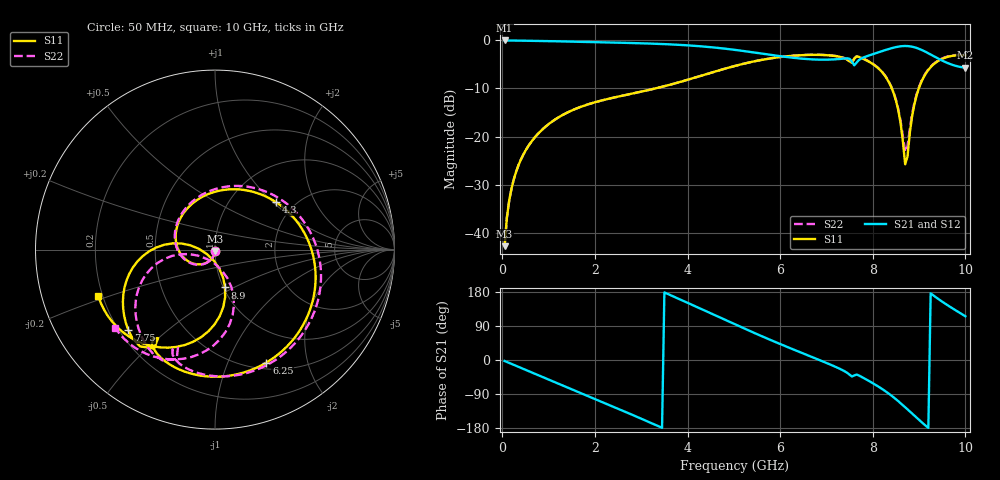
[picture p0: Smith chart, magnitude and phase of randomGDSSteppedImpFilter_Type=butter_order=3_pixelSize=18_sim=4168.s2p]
! freq	dB(S11)	phase(S11)	dB(S12)	phase(S12)
!  dB(S21)	phase(S21)	dB(S22)	phase(S22)
!S-par simulation data
#  GHz  S  DB  R 50
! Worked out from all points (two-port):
!   200 points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, 50 MHz to 10 GHz, reference 50 ohm
!   highest |S21| = 0.00 dB at 50 MHz (marker M1); lowest = -5.6 dB at 10 GHz (marker M2)
!   |S21| within 3 dB of the highest: start of sweep to 5.794 GHz; 7.956 GHz to 9.265 GHz (1.309 GHz wide, 15.2 % of centre)
!   lowest |S11| = -42.8 dB at 50 MHz (marker M3), VSWR 1.01, Z = 50 - j0.722 ohm
!   |S11| at or under -10 dB: start of sweep to 3.3 GHz; 8.412 GHz to 8.994 GHz (582.1 MHz wide, 6.69 % of centre)
!   |S22| runs from -42.8 to -3.0 dB; largest |S21 - S12| = 0
!   S11 on the Smith chart (normalised r, x): 50 MHz: 1.00, -0.01; 4.3 GHz: 1.60, +1.04; 6.25 GHz: 0.58, -1.39; 7.75 GHz: 0.24, -0.37; 8.9 GHz: 1.02, -0.45; 10 GHz: 0.18, -0.19
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0.05  -42.81 -92.1  -0.00 -2.6  -0.00 -2.6  -42.82 -92.0
0.1  -36.79 -95.0  -0.01 -5.2  -0.01 -5.2  -36.80 -94.8
0.2  -30.78 -100.5  -0.02 -10.4  -0.02 -10.4  -30.78 -100.1
0.5  -22.96 -116.7  -0.06 -25.8  -0.06 -25.8  -22.96 -115.9
1.15  -16.39 -150.9  -0.17 -59.2  -0.17 -59.2  -16.39 -149.1
1.75  -13.63 177.5  -0.30 -89.9  -0.30 -89.9  -13.63 -179.3
2.5  -11.69 137.7  -0.46 -128.6  -0.46 -128.6  -11.70 143.1
3.4  -9.77 88.4  -0.72 -176.3  -0.72 -176.3  -9.77 96.9
4.3  -7.33 38.1  -1.23 134.3  -1.23 134.3  -7.33 48.7
5.05  -5.24 -3.4  -1.99 92.7  -1.99 92.7  -5.23 7.8
5.65  -3.96 -35.3  -2.80 60.3  -2.80 60.3  -3.95 -24.1
6.25  -3.20 -65.5  -3.58 29.5  -3.58 29.5  -3.19 -54.3
6.7  -3.00 -87.3  -3.95 7.2  -3.95 7.2  -2.97 -75.9
7.6  -3.78 -121.6  -5.18 -40.8  -5.18 -40.8  -3.79 -109.3
7.75  -3.61 -137.0  -3.77 -44.0  -3.77 -44.0  -3.59 -124.4
8.35  -8.71 -178.5  -1.76 -89.1  -1.76 -89.1  -8.64 -163.7
8.55  -14.47 169.7  -1.29 -108.6  -1.29 -108.6  -14.25 -172.4
8.7  -25.77 -150.8  -1.16 -124.7  -1.16 -124.7  -23.21 -131.4
8.9  -13.22 -75.1  -1.42 -147.2  -1.42 -147.2  -12.93 -66.3
9.1  -7.62 -90.2  -2.17 -169.0  -2.17 -169.0  -7.50 -78.7
9.4  -4.35 -115.7  -3.70 162.3  -3.70 162.3  -4.26 -102.3
10  -3.10 -158.2  -5.65 115.3  -5.65 115.3  -3.02 -141.8
